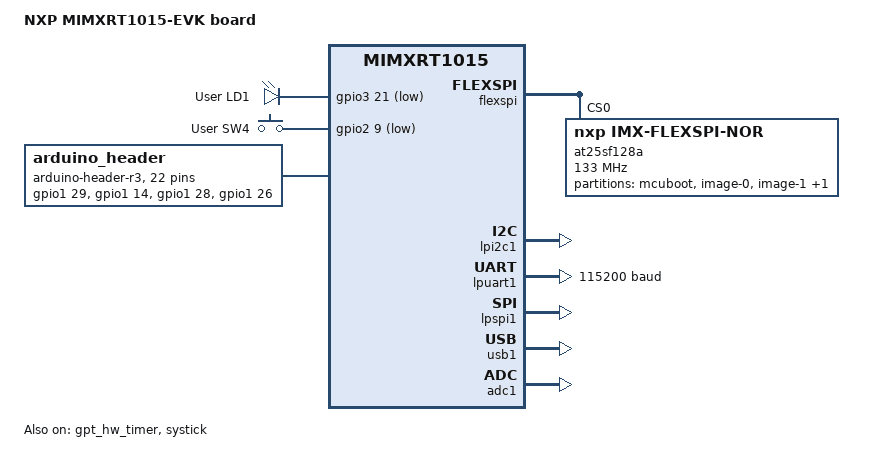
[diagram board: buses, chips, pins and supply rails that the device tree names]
/*
 * Copyright 2019,2023 NXP
 *
 * SPDX-License-Identifier: Apache-2.0
 */

/dts-v1/;

#include <nxp/nxp_rt1015.dtsi>
#include "mimxrt1015_evk-pinctrl.dtsi"
#include <zephyr/dt-bindings/input/input-event-codes.h>

/ {
	model = "NXP MIMXRT1015-EVK board";
	compatible = "nxp,mimxrt1015";

	aliases {
		led0 = &green_led;
		sw0 = &user_button;
	};

	chosen {
		zephyr,sram = &ocram;
		zephyr,itcm = &itcm;
		zephyr,dtcm = &dtcm;
		zephyr,console = &lpuart1;
		zephyr,shell-uart = &lpuart1;
		zephyr,flash = &at25sf128a;
		zephyr,flash-controller = &at25sf128a;
		zephyr,code-partition = &slot0_partition;
	};

	leds {
		compatible = "gpio-leds";
		green_led: led-1 {
			gpios = <&gpio3 21 GPIO_ACTIVE_LOW>;
			label = "User LD1";
		};
	};

	gpio_keys {
		compatible = "gpio-keys";
		user_button: button-1 {
			label = "User SW4";
			gpios = <&gpio2 9 GPIO_ACTIVE_LOW>;
			zephyr,code = <INPUT_KEY_0>;
		};
	};

	arduino_header: connector {
		compatible = "arduino-header-r3";
		#gpio-cells = <2>;
		gpio-map-mask = <0xffffffff 0xffffffc0>;
		gpio-map-pass-thru = <0 0x3f>;
		gpio-map = <0 0 &gpio1 29 0>,	/* A0 */
			   <1 0 &gpio1 14 0>,	/* A1 */
			   <2 0 &gpio1 28 0>,	/* A2 */
			   <3 0 &gpio1 26 0>,	/* A3 */
			   <4 0 &gpio1 31 0>,	/* A4 */
			   <5 0 &gpio1 30 0>,	/* A5 */
			   <6 0 &gpio3 1 0>,	/* D0 */
			   <7 0 &gpio3 0 0>,	/* D1 */
			   <8 0 &gpio2 20 0>,	/* D2 */
			   <9 0 &gpio2 26 0>,	/* D3 */
			   <10 0 &gpio3 2 0>,	/* D4 */
			   <11 0 &gpio2 27 0>,	/* D5 */
			   <12 0 &gpio1 27 0>,	/* D6 */
			   <13 0 &gpio1 15 0>,	/* D7 */
			   <14 0 &gpio2 21 0>,	/* D8 */
			   <15 0 &gpio2 22 0>,	/* D9 */
			   <16 0 &gpio1 11 0>,	/* D10 */
			   <17 0 &gpio1 12 0>,	/* D11 */
			   <18 0 &gpio1 13 0>,	/* D12 */
			   <19 0 &gpio1 10 0>,	/* D13 */
			   <20 0 &gpio1 31 0>,	/* D14 */
			   <21 0 &gpio1 30 0>;	/* D15 */
	};
};

arduino_serial: &lpuart4 {
	pinctrl-0 = <&pinmux_lpuart4>;
	pinctrl-1 = <&pinmux_lpuart4_sleep>;
	pinctrl-names = "default", "sleep";
};

&flexspi {
	status = "okay";
	reg = <0x402a8000 0x4000>, <0x60000000 DT_SIZE_M(16)>;
	at25sf128a: at25sf128a@0 {
		compatible = "nxp,imx-flexspi-nor";
		size = <DT_SIZE_M(16 * 8)>;
		reg = <0>;
		spi-max-frequency = <133000000>;
		status = "okay";
		jedec-id = [1f 89 01];
		erase-block-size = <4096>;
		write-block-size = <1>;

		partitions {
			compatible = "fixed-partitions";
			#address-cells = <1>;
			#size-cells = <1>;
			boot_partition: partition@0 {
				label = "mcuboot";
				reg = <0x00000000 DT_SIZE_K(64)>;
			};
			slot0_partition: partition@10000 {
				label = "image-0";
				reg = <0x00010000 DT_SIZE_M(7)>;
			};
			slot1_partition: partition@710000 {
				label = "image-1";
				reg = <0x00710000 DT_SIZE_M(7)>;
			};
			storage_partition: partition@E10000 {
				label = "storage";
				reg = <0x00E10000 DT_SIZE_K(1984)>;
			};
		};
	};
};

&lpi2c1 {
	status = "okay";
	pinctrl-0 = <&pinmux_lpi2c1>;
	pinctrl-names = "default";
};

&lpuart1 {
	status = "okay";
	current-speed = <115200>;
	pinctrl-0 = <&pinmux_lpuart1>;
	pinctrl-1 = <&pinmux_lpuart1_sleep>;
	pinctrl-names = "default", "sleep";
};

&lpspi1 {
	status = "okay";
	/* DMA channels 0 and 1, muxed to LPSPI1 RX and TX */
	dmas = <&edma0 0 13>, <&edma0 1 14>;
	dma-names = "rx", "tx";
	pinctrl-0 = <&pinmux_lpspi1>;
	pinctrl-names = "default";
};

zephyr_udc0: &usb1 {
	status = "okay";
};

&adc1 {
	status = "okay";
	pinctrl-0 = <&pinmux_adc1>;
	pinctrl-names = "default";
};

&edma0 {
	status = "okay";
};

&sai1 {
	pinctrl-0 = <&pinmux_sai1>;
	pinctrl-names = "default";
};

/* GPT and Systick are enabled. If power management is enabled, the GPT
 * timer will be used instead of systick, as allows the core clock to
 * be gated.
 */
&gpt_hw_timer {
	status = "okay";
};

&systick {
	status = "okay";
};
